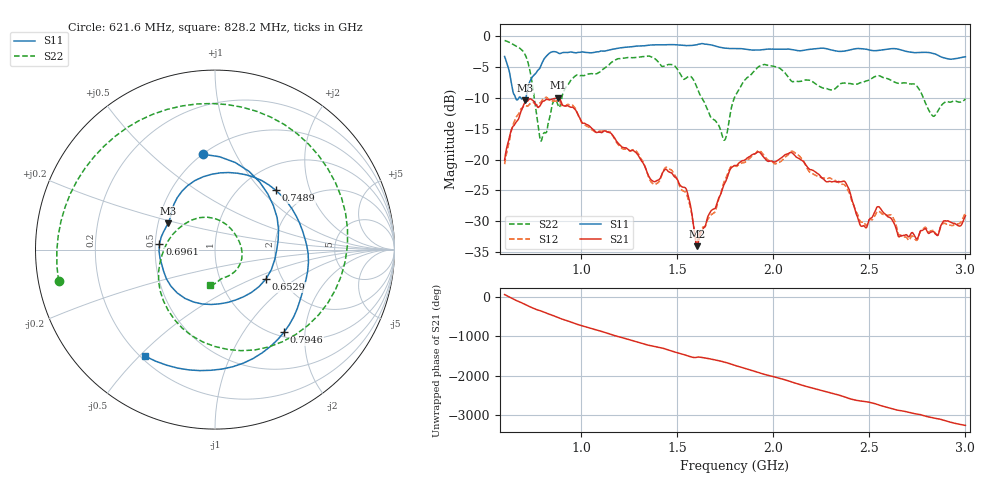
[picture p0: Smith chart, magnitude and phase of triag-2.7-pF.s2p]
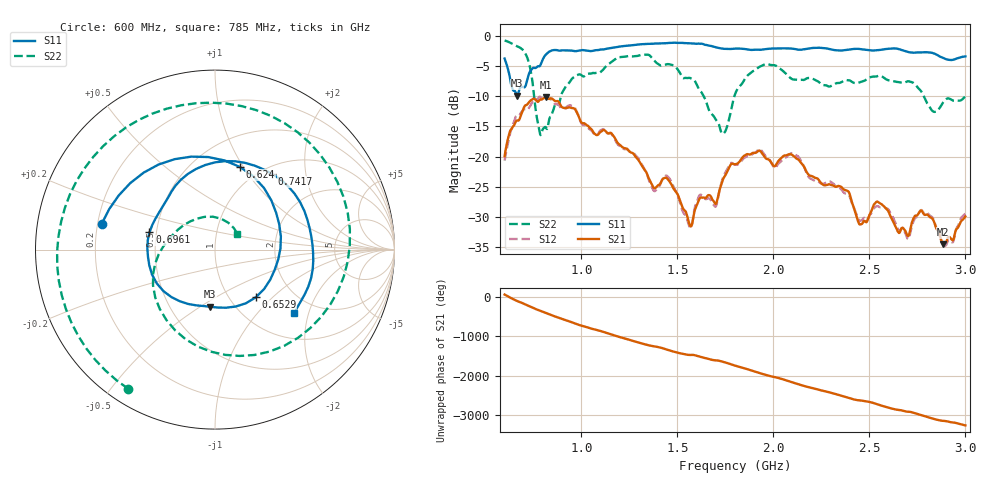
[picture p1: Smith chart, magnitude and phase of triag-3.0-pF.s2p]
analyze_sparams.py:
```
from numpy import *
from matplotlib.pyplot import *
import aauplot

vnadir = "data/VNA/"
top = ["triag-0.3-pF.s2p",
        "triag-0.7-pF.s2p",
        "triag-1.1-pF.s2p",
        "triag-1.5-pF.s2p",
        "triag-2.0-pF.s2p",
        "triag-2.7-pF.s2p",
        "triag-3.0-pF.s2p",
        ]

side = ["triag-side-0.3-pF.s2p",
        "triag-side-0.7-pF.s2p",
        "triag-side-1.1-pF.s2p",
        "triag-side-1.5-pF.s2p",
        "triag-side-2.0-pF.s2p",
        "triag-side-2.7-pF.s2p",
        "triag-side-3.0-pF.s2p",
        ]

aauplot.figure()
for s in top:
    m = loadtxt(vnadir + s, skiprows=5).T
    f = m[0]
    S11 = m[1] + 1j*m[2]
    S21 = m[3] + 1j*m[4]
    S12 = m[5] + 1j*m[6]
    S22 = m[7] + 1j*m[8]

    aauplot.sparam(f, 20*log10(abs(S11)))

aauplot.end_sparam()
savefig("s11_csh1.pdf")

aauplot.figure()
for s in top:
    m = loadtxt(vnadir + s, skiprows=5).T
    f = m[0]
    S11 = m[1] + 1j*m[2]
    S21 = m[3] + 1j*m[4]
    S12 = m[5] + 1j*m[6]
    S22 = m[7] + 1j*m[8]

    aauplot.sparam(f, 20*log10(abs(S21)))

aauplot.end_sparam()
savefig("s21_csh1.pdf")

aauplot.figure()
for s in side:
    m = loadtxt(vnadir + s, skiprows=5).T
    f = m[0]
    S11 = m[1] + 1j*m[2]
    S21 = m[3] + 1j*m[4]
    S12 = m[5] + 1j*m[6]
    S22 = m[7] + 1j*m[8]

    aauplot.sparam(f, 20*log10(abs(S22)))

aauplot.end_sparam()
savefig("s22_csh2.pdf")

aauplot.figure()
for s in side:
    m = loadtxt(vnadir + s, skiprows=5).T
    f = m[0]
    S11 = m[1] + 1j*m[2]
    S21 = m[3] + 1j*m[4]
    S12 = m[5] + 1j*m[6]
    S22 = m[7] + 1j*m[8]

    aauplot.sparam(f, 20*log10(abs(S21)))

aauplot.end_sparam()
savefig("s21_csh2.pdf")
show()
```
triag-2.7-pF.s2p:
#  HZ  S  RI  R  50.00
! Rohde & Schwarz ZVB8 2Ports - Version 2.81 - 1145.1010k08 SN: 100113
! Date: 2016-03-12 01:59:33
! Measurements: S11 S21 S12 S22
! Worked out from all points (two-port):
!   1000 points, 600 MHz to 3 GHz, reference 50 ohm
!   highest |S21| = -9.99 dB at 878.7 MHz (marker M1); lowest = -34.0 dB at 1.602 GHz (marker M2)
!   |S21| within 3 dB of the highest: 677.6 MHz to 985.5 MHz (307.9 MHz wide, 37 % of centre)
!   lowest |S11| = -10.5 dB at 705.7 MHz (marker M3), VSWR 1.86, Z = 28.2 + j9.08 ohm
!   |S11| at or under -10 dB: 656.7 MHz to 675 MHz (18.27 MHz wide, 2.74 % of centre); 683.8 MHz to 711.2 MHz (27.41 MHz wide, 3.93 % of centre)
!   |S22| runs from -17.0 to -0.8 dB; largest |S21 - S12| = 0.035
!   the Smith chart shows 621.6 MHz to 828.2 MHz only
!   S11 on the Smith chart (normalised r, x): 621.6 MHz: 0.50, +0.75; 652.9 MHz: 1.65, -0.61; 696.1 MHz: 0.53, +0.04; 748.9 MHz: 1.42, +1.21; 794.6 MHz: 1.09, -1.56; 828.2 MHz: 0.22, -0.52
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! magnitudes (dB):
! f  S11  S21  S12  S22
! 600 MHz  -3.4  -20.1  -20.7  -0.8
! 621.6 MHz  -5.4  -16.9  -17.5  -1.0
! 652.9 MHz  -9.7  -14.3  -13.7  -1.6
! 696.1 MHz  -10.1  -11.5  -11.5  -2.5
! 705.7 MHz  -10.5  -10.8  -11.2  -3.0
! 748.9 MHz  -6.5  -10.5  -10.8  -8.8
! 794.6 MHz  -4.4  -10.8  -10.4  -16.7
! 828.2 MHz  -3.0  -10.3  -10.2  -14.0
! 878.7 MHz  -2.8  -10.0  -10.5  -11.3
! 1.602 GHz  -1.5  -34.0  -33.4  -8.3
! 1.801 GHz  -2.1  -21.0  -21.0  -9.7
! 3 GHz  -3.4  -29.1  -28.6  -10.2
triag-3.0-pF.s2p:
#  HZ  S  RI  R  50.00
! Rohde & Schwarz ZVB8 2Ports - Version 2.81 - 1145.1010k08 SN: 100113
! Date: 2016-03-12 02:07:58
! Measurements: S11 S21 S12 S22
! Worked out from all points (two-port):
!   1000 points, 600 MHz to 3 GHz, reference 50 ohm
!   highest |S21| = -10.21 dB at 816.2 MHz (marker M1); lowest = -34.5 dB at 2.885 GHz (marker M2)
!   |S21| within 3 dB of the highest: 684 MHz to 983.8 MHz (299.8 MHz wide, 36 % of centre)
!   lowest |S11| = -9.9 dB at 664.9 MHz (marker M3), VSWR 1.94, Z = 38.8 - j27.5 ohm
!   |S11| at or under -10 dB: nowhere
!   |S22| runs from -16.4 to -0.8 dB; largest |S21 - S12| = 0.035
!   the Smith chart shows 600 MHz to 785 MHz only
!   S11 on the Smith chart (normalised r, x): 600 MHz: 0.22, +0.11; 624 MHz: 0.81, +0.97; 652.9 MHz: 1.31, -0.80; 696.1 MHz: 0.46, +0.10; 741.7 MHz: 1.12, +1.31; 785 MHz: 1.55, -1.62
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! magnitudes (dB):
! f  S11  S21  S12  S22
! 600 MHz  -3.8  -20.0  -20.7  -0.8
! 624 MHz  -6.4  -16.3  -16.8  -1.1
! 652.9 MHz  -9.1  -14.6  -13.9  -1.5
! 664.9 MHz  -9.9  -14.0  -13.2  -1.7
! 696.1 MHz  -8.5  -12.2  -12.3  -2.4
! 741.7 MHz  -5.5  -10.6  -11.1  -6.9
! 785 MHz  -4.9  -10.5  -10.1  -16.3
! 816.2 MHz  -3.1  -10.2  -9.9  -15.2
! 1.801 GHz  -2.1  -21.3  -21.3  -9.6
! 2.885 GHz  -3.7  -34.5  -34.8  -11.0
! 3 GHz  -3.4  -29.9  -29.5  -9.9
